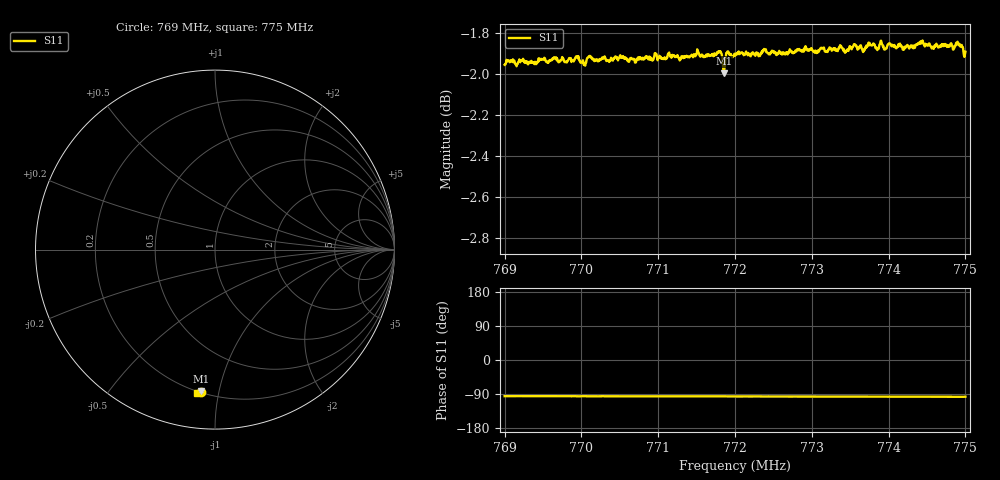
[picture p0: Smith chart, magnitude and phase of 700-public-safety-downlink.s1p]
! Calibrated averaged scanner-service zoom
# Hz S RI R 50
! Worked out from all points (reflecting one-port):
!   1001 points, 769 MHz to 775 MHz, reference 50 ohm
!   lowest |S11| = -2.0 dB at 771.856 MHz (marker M1), VSWR 8.73, Z = 10.3 - j44.2 ohm
!   phase of S11 starts at -95 deg and turns -2 deg over the sweep
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7.69e8  -0.0757 -0.7947
7.6975e8  -0.0784 -0.7979
7.699e8  -0.0769 -0.7961
7.6996e8  -0.0824 -0.7979
7.70038e8  -0.0775 -0.7949
7.70104e8  -0.0799 -0.798
7.7035e8  -0.0789 -0.7963
7.705e8  -0.0806 -0.7981
7.7125e8  -0.0835 -0.7983
7.7137e8  -0.082 -0.7981
7.7152e8  -0.0861 -0.7994
7.71718e8  -0.0837 -0.7978
7.71796e8  -0.0877 -0.7994
7.71856e8  -0.079 -0.7905
7.7191e8  -0.0863 -0.7996
7.72e8  -0.0875 -0.7975
7.72264e8  -0.0861 -0.7976
7.72378e8  -0.0882 -0.8005
7.72564e8  -0.0877 -0.7985
7.7275e8  -0.0901 -0.7988
7.735e8  -0.0922 -0.8013
7.73674e8  -0.0925 -0.799
7.7377e8  -0.0937 -0.8016
7.73848e8  -0.0948 -0.7996
7.7425e8  -0.0956 -0.8013
7.74418e8  -0.0985 -0.8029
7.74898e8  -0.0979 -0.8027
7.75e8  -0.0978 -0.7982
